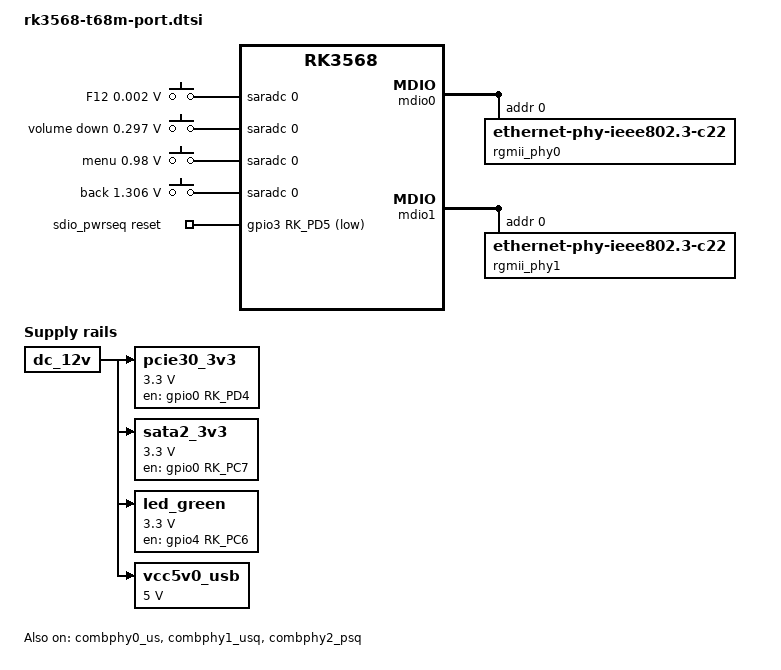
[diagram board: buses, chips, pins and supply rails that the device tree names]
// SPDX-License-Identifier: (GPL-2.0+ OR MIT)
/*
 * Copyright (c) 2020 Rockchip Electronics Co., Ltd.
 *
 */

/dts-v1/;

#include <dt-bindings/gpio/gpio.h>
#include <dt-bindings/pinctrl/rockchip.h>
#include "rk3568-t68m-core.dtsi"

/ {
	chosen: chosen {
		bootargs = "earlycon=uart8250,mmio32,0xfe660000 console=ttyFIQ0 root=PARTUUID=614e0000-0000 rw rootwait";
	};

	fiq-debugger {
		compatible = "rockchip,fiq-debugger";
		rockchip,serial-id = <2>;
		rockchip,wake-irq = <0>;
		/* If enable uart uses irq instead of fiq */
		rockchip,irq-mode-enable = <1>;
		rockchip,baudrate = <1500000>;  /* Only 115200 and 1500000 */
		interrupts = <GIC_SPI 252 IRQ_TYPE_LEVEL_LOW>;
		pinctrl-names = "default";
		pinctrl-0 = <&uart2m0_xfer>;
		status = "okay";
	};

	debug: debug@fd904000 {
		compatible = "rockchip,debug";
		reg = <0x0 0xfd904000 0x0 0x1000>,
			<0x0 0xfd905000 0x0 0x1000>,
			<0x0 0xfd906000 0x0 0x1000>,
			<0x0 0xfd907000 0x0 0x1000>;
	};

	cspmu: cspmu@fd90c000 {
		compatible = "rockchip,cspmu";
		reg = <0x0 0xfd90c000 0x0 0x1000>,
			<0x0 0xfd90d000 0x0 0x1000>,
			<0x0 0xfd90e000 0x0 0x1000>,
			<0x0 0xfd90f000 0x0 0x1000>;
	};

	rk809_sound: rk809-sound {
		simple-audio-card,hp-det-gpio = <&gpio3 RK_PC2 GPIO_ACTIVE_HIGH>;
	};

	adc_keys: adc-keys {
		compatible = "adc-keys";
		io-channels = <&saradc 0>;
		io-channel-names = "buttons";
		keyup-threshold-microvolt = <1800000>;
		poll-interval = <100>;

		recovery-key {
			label = "F12";
			linux,code = <KEY_F12>;
			press-threshold-microvolt = <1750>;
		};

		vol-down-key {
			label = "volume down";
			linux,code = <KEY_VOLUMEDOWN>;
			press-threshold-microvolt = <297500>;
		};

		menu-key {
			label = "menu";
			linux,code = <KEY_MENU>;
			press-threshold-microvolt = <980000>;
		};

		back-key {
			label = "back";
			linux,code = <KEY_BACK>;
			press-threshold-microvolt = <1305500>;
		};
	};

	pcie30_3v3: gpio-regulator {
		compatible = "regulator-fixed";
		regulator-name = "pcie30_3v3";
		regulator-always-on;
		regulator-boot-on;
		regulator-min-microvolt = <3300000>;
		regulator-max-microvolt = <3300000>;
		enable-active-high;
		gpio = <&gpio0 RK_PD4 GPIO_ACTIVE_HIGH>;
		startup-delay-us = <5000>;
		vin-supply = <&dc_12v>;
	};

	sata2_3v3: sata2-3v3 {
		compatible = "regulator-fixed";
		regulator-name = "sata2_3v3";
		regulator-always-on;
		regulator-boot-on;
		regulator-min-microvolt = <3300000>;
		regulator-max-microvolt = <3300000>;
		enable-active-high;
		gpio = <&gpio0 RK_PC7 GPIO_ACTIVE_HIGH>;
		startup-delay-us = <5000>;
		vin-supply = <&dc_12v>;
	};

	led_green: led-green {
		compatible = "regulator-fixed";
		regulator-name = "led_green";
		regulator-always-on;
		regulator-boot-on;
		regulator-min-microvolt = <3300000>;
		regulator-max-microvolt = <3300000>;
		enable-active-high;
		gpio = <&gpio4 RK_PC6 GPIO_ACTIVE_HIGH>;
		startup-delay-us = <5000>;
		vin-supply = <&dc_12v>;
	};

	vcc5v0_usb: vcc5v0-usb {
		compatible = "regulator-fixed";
		regulator-name = "vcc5v0_usb";
		regulator-always-on;
		regulator-boot-on;
		regulator-min-microvolt = <5000000>;
		regulator-max-microvolt = <5000000>;
		vin-supply = <&dc_12v>;
	};

	sdio_pwrseq: sdio-pwrseq {
		compatible = "mmc-pwrseq-simple";
		clocks = <&rk809 1>;
		clock-names = "ext_clock";
		pinctrl-names = "default";
		pinctrl-0 = <&wifi_enable_h>;
		/*
			* On the module itself this is one of these (depending
			* on the actual card populated):
			* - SDIO_RESET_L_WL_REG_ON
			* - PDN (power down when low)
		*/
		reset-gpios = <&gpio3 RK_PD5 GPIO_ACTIVE_LOW>;
	};

};

&combphy0_us {
	status = "okay";
};

&combphy1_usq {
	status = "okay";
};

&combphy2_psq {
	status = "okay";
};

&gmac0 {
	phy-mode = "rgmii";
	clock_in_out = "input";

	snps,reset-gpio = <&gpio2 RK_PD3 GPIO_ACTIVE_LOW>;
	snps,reset-active-low;
	/* Reset time is 20ms, 100ms for rtl8211f */
	snps,reset-delays-us = <0 20000 100000>;

	assigned-clocks = <&cru SCLK_GMAC0_RX_TX>, <&cru SCLK_GMAC0>;
	assigned-clock-parents = <&cru SCLK_GMAC0_RGMII_SPEED>, <&gmac0_clkin>;

	pinctrl-names = "default";
	pinctrl-0 = <&gmac0_miim
		     &gmac0_tx_bus2
		     &gmac0_rx_bus2
		     &gmac0_rgmii_clk
		     &gmac0_rgmii_bus
		     &gmac0_clkinout>;

	tx_delay = <0x3c>;
	rx_delay = <0x2f>;

	phy-handle = <&rgmii_phy0>;
	status = "disabled";
};

&gmac1 {
	phy-mode = "rgmii";
	clock_in_out = "input";

	snps,reset-gpio = <&gpio2 RK_PD1 GPIO_ACTIVE_LOW>;
	snps,reset-active-low;
	/* Reset time is 20ms, 100ms for rtl8211f */
	snps,reset-delays-us = <0 20000 100000>;

	assigned-clocks = <&cru SCLK_GMAC1_RX_TX>, <&cru SCLK_GMAC1>;
	assigned-clock-parents = <&cru SCLK_GMAC1_RGMII_SPEED>, <&gmac1_clkin>;

	pinctrl-names = "default";
	pinctrl-0 = <&gmac1m1_miim
		     &gmac1m1_tx_bus2
		     &gmac1m1_rx_bus2
		     &gmac1m1_rgmii_clk
		     &gmac1m1_rgmii_bus
		     &gmac1m1_clkinout>;

	tx_delay = <0x4f>;
	rx_delay = <0x26>;

	phy-handle = <&rgmii_phy1>;
	status = "disabled";
};

&mdio0 {
	rgmii_phy0: phy@0 {
		compatible = "ethernet-phy-ieee802.3-c22";
		reg = <0x0>;
	};
};

&mdio1 {
	rgmii_phy1: phy@0 {
		compatible = "ethernet-phy-ieee802.3-c22";
		reg = <0x0>;
	};
};

&pcie30phy {
	status = "disabled";
};

&pcie3x2 {
	reset-gpios = <&gpio2 RK_PD6 GPIO_ACTIVE_HIGH>;
	vpcie3v3-supply = <&pcie30_3v3>;
	status = "disabled";
};

&sdmmc2 {
	max-frequency = <150000000>;
	supports-sdio;
	bus-width = <4>;
	disable-wp;
	cap-sd-highspeed;
	cap-sdio-irq;
	keep-power-in-suspend;
	pinctrl-names = "default";
	pinctrl-0 = <&sdmmc2m0_bus4 &sdmmc2m0_cmd &sdmmc2m0_clk>;
	sd-uhs-sdr104;
	mmc-pwrseq = <&sdio_pwrseq>;
	non-removable;
	status = "disabled";
};

&uart3 {
	status = "disabled";
	pinctrl-names = "default";
	pinctrl-0 = <&uart3m1_xfer>;
};

&uart4 {
	status = "disabled";
	pinctrl-names = "default";
	pinctrl-0 = <&uart4m1_xfer>;
};

&pinctrl {

	usb {
		host_otg_en: host-otg-en {
			rockchip,pins = <0 RK_PB7 RK_FUNC_GPIO &pcfg_pull_none>;
		};
	};

	sdio-pwrseq {
		wifi_enable_h: wifi-enable-h {
			rockchip,pins = <3 RK_PD5 RK_FUNC_GPIO &pcfg_pull_none>;
		};
	};
};

